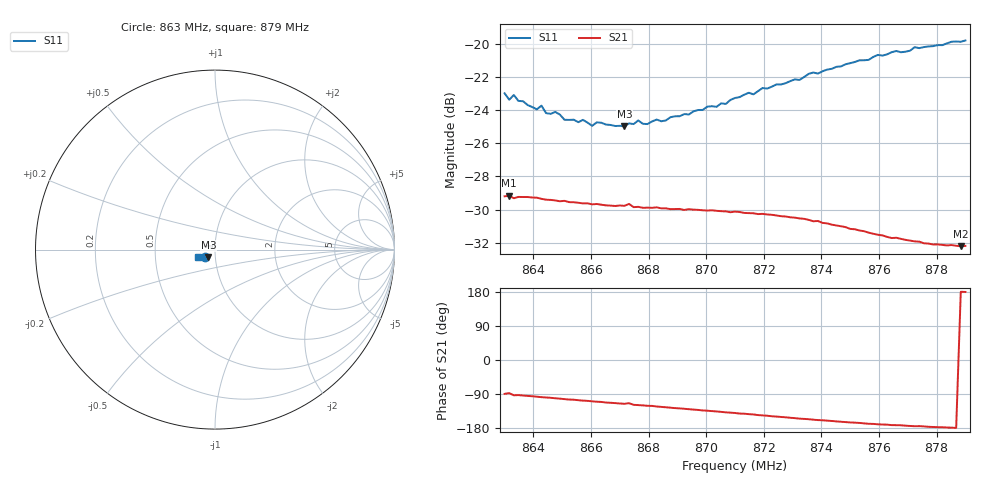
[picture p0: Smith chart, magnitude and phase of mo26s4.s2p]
# HZ S RI R 50
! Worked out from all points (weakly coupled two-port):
!   101 points, 863 MHz to 879 MHz, reference 50 ohm
!   highest |S21| = -29.17 dB at 863.16 MHz (marker M1); lowest = -32.2 dB at 878.84 MHz (marker M2)
!   lowest |S11| = -25.0 dB at 867.16 MHz (marker M3), VSWR 1.12, Z = 46.3 - j3.97 ohm
!   |S11| at or under -10 dB: start of sweep to end of sweep
!   S12 and S22 are empty: the file has one direction only
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8.63e8  -0.0567 -0.0426  0.000377 -0.0347  0 0  0 0
8.6316e8  -0.0542 -0.0408  0.00158 -0.0348  0 0  0 0
8.6332e8  -0.0558 -0.0426  -0.00186 -0.0341  0 0  0 0
8.6348e8  -0.0536 -0.0406  -0.00159 -0.0345  0 0  0 0
8.6412e8  -0.0496 -0.0397  -0.0041 -0.0341  0 0  0 0
8.6428e8  -0.0494 -0.0425  -0.00477 -0.0337  0 0  0 0
8.6444e8  -0.0481 -0.0388  -0.00525 -0.0335  0 0  0 0
8.6476e8  -0.0475 -0.0404  -0.00639 -0.0331  0 0  0 0
8.6508e8  -0.0439 -0.0395  -0.00774 -0.0327  0 0  0 0
8.6572e8  -0.0433 -0.04  -0.00976 -0.0315  0 0  0 0
8.6604e8  -0.0408 -0.0393  -0.0107 -0.031  0 0  0 0
8.662e8  -0.0411 -0.0409  -0.0113 -0.0309  0 0  0 0
8.6716e8  -0.0368 -0.0428  -0.014 -0.0293  0 0  0 0
8.6764e8  -0.0388 -0.0441  -0.0156 -0.0282  0 0  0 0
8.6796e8  -0.0358 -0.0447  -0.0164 -0.0275  0 0  0 0
8.6844e8  -0.0366 -0.0456  -0.0177 -0.0265  0 0  0 0
8.7068e8  -0.0386 -0.0534  -0.0232 -0.0208  0 0  0 0
8.71e8  -0.0401 -0.0558  -0.0238 -0.0201  0 0  0 0
8.7372e8  -0.0538 -0.0619  -0.0269 -0.0112  0 0  0 0
8.7644e8  -0.0756 -0.0566  -0.0257 -0.00369  0 0  0 0
8.7884e8  -0.0929 -0.041  -0.0245 3e-06  0 0  0 0
8.79e8  -0.0942 -0.0405  -0.0246 0.000177  0 0  0 0
